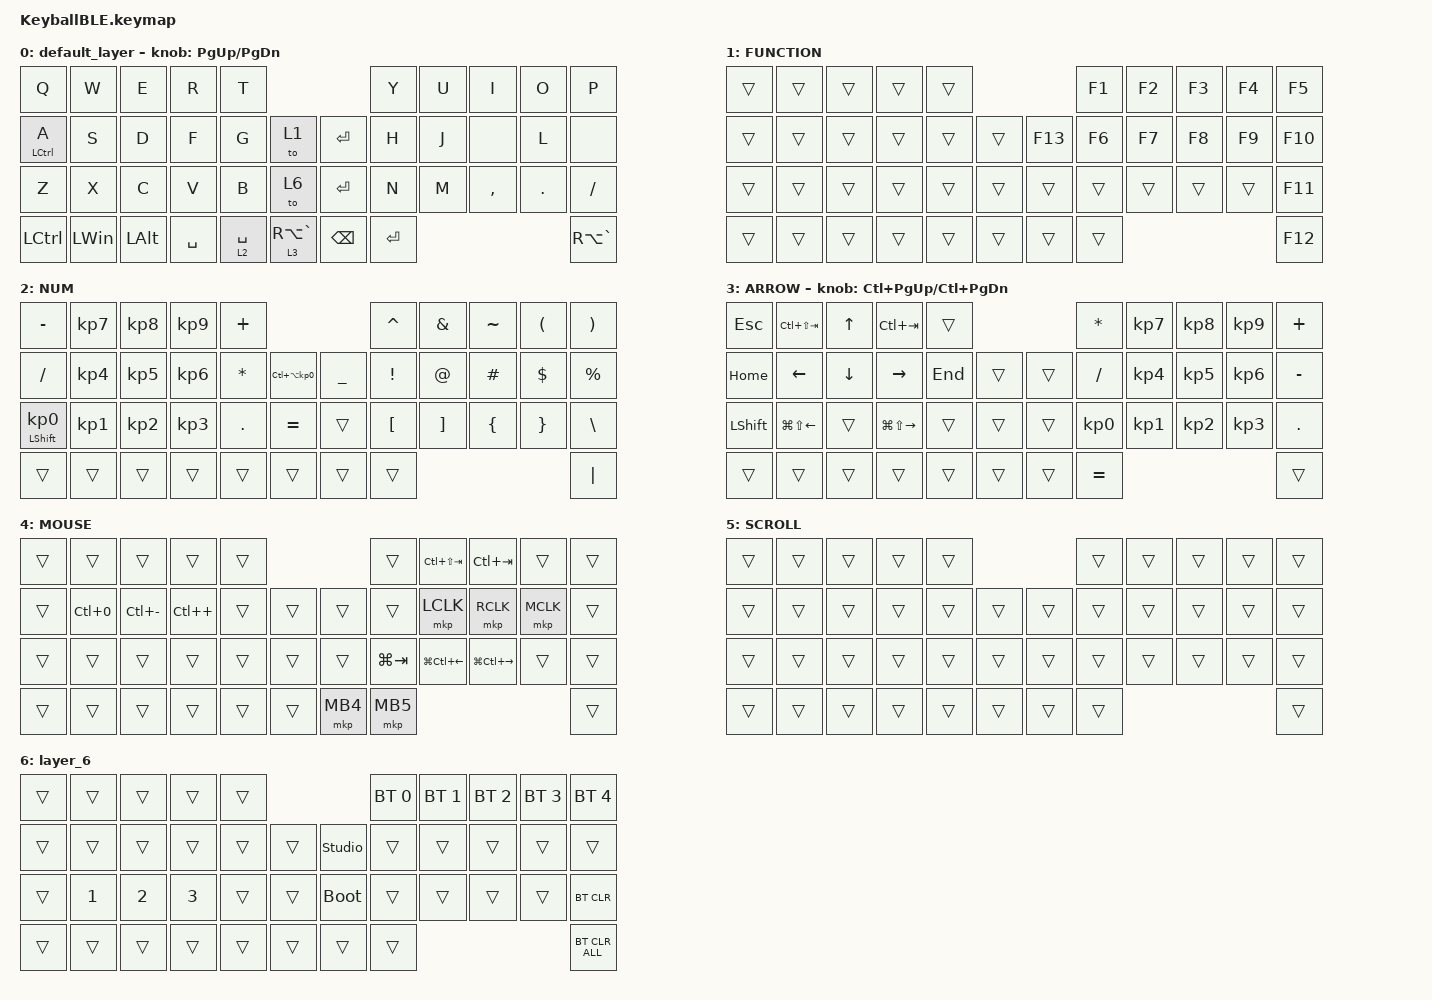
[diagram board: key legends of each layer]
#include <behaviors.dtsi>
#include <dt-bindings/zmk/bt.h>
#include <dt-bindings/zmk/keys.h>
#include <dt-bindings/zmk/pointing.h>

#define MOUSE 4
#define SCROLL 5
#define NUM 6

&mt {
    flavor = "balanced";
    quick-tap-ms = <0>;
};

/ {
    combos {
        compatible = "zmk,combos";

        double_quotation {
            bindings = <&kp DOUBLE_QUOTES>;
            key-positions = <20 21>;
        };
    };

    macros {
        to_layer_0: to_layer_0 {
            compatible = "zmk,behavior-macro-one-param";
            #binding-cells = <1>;
            bindings = <&to 0 &macro_param_1to1 &kp MACRO_PLACEHOLDER>;
            label = "TO_LAYER_0";
        };
    };

    keymap {
        compatible = "zmk,keymap";

        default_layer {
            bindings = <
&kp Q        &kp W         &kp E         &kp R      &kp T                                            &kp Y    &kp U  &kp I      &kp O    &kp P
&mt LCTRL A  &kp S         &kp D         &kp F      &kp G        &to 1                &kp ENTER      &kp H    &kp J  &none      &kp L    &none
&kp Z        &kp X         &kp C         &kp V      &kp B        &to 6                &kp ENTER      &kp N    &kp M  &kp COMMA  &kp DOT  &kp FSLH
&kp LCTRL    &kp LEFT_WIN  &kp LEFT_ALT  &kp SPACE  &lt 2 SPACE  &lt 3 RA(GRAVE)      &kp BACKSPACE  &kp RET                             &kp RA(GRAVE)
            >;

            sensor-bindings = <&inc_dec_kp PG_UP PAGE_DOWN>;
        };

        FUNCTION {
            bindings = <
&trans  &trans  &trans  &trans  &trans                       &kp F1  &kp F2  &kp F3  &kp F4  &kp F5
&trans  &trans  &trans  &trans  &trans  &trans      &kp F13  &kp F6  &kp F7  &kp F8  &kp F9  &kp F10
&trans  &trans  &trans  &trans  &trans  &trans      &trans   &trans  &trans  &trans  &trans  &kp F11
&trans  &trans  &trans  &trans  &trans  &trans      &trans   &trans                          &kp F12
            >;
        };

        NUM {
            bindings = <
&kp MINUS                   &kp KP_NUMBER_7  &kp KP_NUMBER_8  &kp KP_NUMBER_9  &kp PLUS                                                   &kp CARET         &kp AMPERSAND      &kp TILDE       &kp LEFT_PARENTHESIS  &kp RIGHT_PARENTHESIS
&kp SLASH                   &kp KP_NUMBER_4  &kp KP_NUMBER_5  &kp KP_NUMBER_6  &kp ASTERISK  &kp LC(LA(KP_NUMBER_0))      &kp UNDERSCORE  &kp EXCLAMATION   &kp AT_SIGN        &kp HASH        &kp DOLLAR            &kp PERCENT
&mt LEFT_SHIFT KP_NUMBER_0  &kp KP_NUMBER_1  &kp KP_NUMBER_2  &kp KP_NUMBER_3  &kp PERIOD    &kp EQUAL                    &trans          &kp LEFT_BRACKET  &kp RIGHT_BRACKET  &kp LEFT_BRACE  &kp RIGHT_BRACE       &kp BACKSLASH
&trans                      &trans           &trans           &trans           &trans        &trans                       &trans          &trans                                                                     &kp PIPE
            >;
        };

        ARROW {
            bindings = <
&kp ESCAPE      &kp LC(LS(TAB))         &kp UP_ARROW    &kp LC(TAB)              &trans                       &kp ASTERISK     &kp KP_NUMBER_7  &kp KP_NUMBER_8  &kp KP_NUMBER_9  &kp PLUS
&kp HOME        &kp LEFT_ARROW          &kp DOWN_ARROW  &kp RIGHT_ARROW          &kp END  &trans      &trans  &kp SLASH        &kp KP_NUMBER_4  &kp KP_NUMBER_5  &kp KP_NUMBER_6  &kp MINUS
&kp LEFT_SHIFT  &kp LG(LS(LEFT_ARROW))  &trans          &kp LG(LS(RIGHT_ARROW))  &trans   &trans      &trans  &kp KP_NUMBER_0  &kp KP_NUMBER_1  &kp KP_NUMBER_2  &kp KP_NUMBER_3  &kp PERIOD
&trans          &trans                  &trans          &trans                   &trans   &trans      &trans  &kp EQUAL                                                           &trans
            >;

            sensor-bindings = <&inc_dec_kp LC(PAGE_UP) LC(PAGE_DOWN)>;
        };

        MOUSE {
            bindings = <
&trans  &trans      &trans         &trans        &trans                        &trans       &kp LC(LS(TAB))         &kp LC(TAB)              &trans     &trans
&trans  &kp LC(N0)  &kp LC(MINUS)  &kp LC(PLUS)  &trans  &trans      &trans    &trans       &mkp LCLK               &mkp RCLK                &mkp MCLK  &trans
&trans  &trans      &trans         &trans        &trans  &trans      &trans    &kp LG(TAB)  &kp LG(LC(LEFT_ARROW))  &kp LG(LC(RIGHT_ARROW))  &trans     &trans
&trans  &trans      &trans         &trans        &trans  &trans      &mkp MB4  &mkp MB5                                                                 &trans
            >;
        };

        SCROLL {
            bindings = <
&trans  &trans  &trans  &trans  &trans                      &trans  &trans  &trans  &trans  &trans
&trans  &trans  &trans  &trans  &trans  &trans      &trans  &trans  &trans  &trans  &trans  &trans
&trans  &trans  &trans  &trans  &trans  &trans      &trans  &trans  &trans  &trans  &trans  &trans
&trans  &trans  &trans  &trans  &trans  &trans      &trans  &trans                          &trans
            >;
        };

        layer_6 {
            bindings = <
&trans  &trans        &trans        &trans        &trans                              &bt BT_SEL 0  &bt BT_SEL 1  &bt BT_SEL 2  &bt BT_SEL 3  &bt BT_SEL 4
&trans  &trans        &trans        &trans        &trans  &trans      &studio_unlock  &trans        &trans        &trans        &trans        &trans
&trans  &kp NUMBER_1  &kp NUMBER_2  &kp NUMBER_3  &trans  &trans      &bootloader     &trans        &trans        &trans        &trans        &bt BT_CLR
&trans  &trans        &trans        &trans        &trans  &trans      &trans          &trans                                                  &bt BT_CLR_ALL
            >;
        };
    };
};
